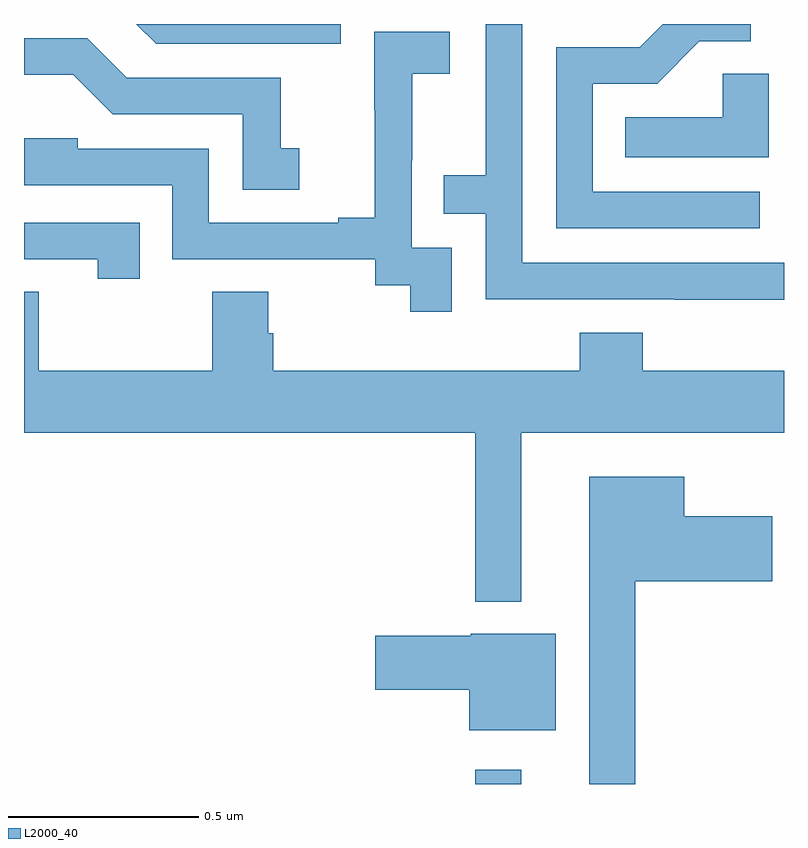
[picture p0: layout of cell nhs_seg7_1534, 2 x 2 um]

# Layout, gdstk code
import gdstk
lib = gdstk.Library(unit=1e-6, precision=1e-09)
def R(c, l, rs):  # rectangles x0, y0, x1, y1
    for r in rs: c.add(gdstk.rectangle(r[:2], r[2:], *l))
def P(c, l, *ps):  # polygons
    for p in ps: c.add(gdstk.Polygon(p, *l))
L2000_40 = (2000, 40)

nhs_seg7_1534 = lib.new_cell('nhs_seg7_1534')
R(nhs_seg7_1534, L2000_40, [(133.188,1025,133.309,1025.038)])
P(nhs_seg7_1534, L2000_40, [(132.834,1027),(132.296,1027),(132.348,1026.948),(132.834,1026.948)],
  [(134,1026.372),(133.311,1026.372),(133.311,1027),(133.215,1027),(133.215,1026.602),(133.105,1026.602),(133.105,1026.501),(133.215,1026.501),(133.215,1026.276),(133.711,1026.276),(133.711,1026.275),(134,1026.275)],
  [(133.936,1026.558),(133.497,1026.558),(133.497,1026.843),(133.666,1026.843),(133.777,1026.954),(133.912,1026.954),(133.912,1027),(133.681,1027),(133.62,1026.939),(133.401,1026.939),(133.401,1026.462),(133.936,1026.462)],
  [(133.125,1026.411),(133.02,1026.411),(133.02,1026.641),(133.022,1026.641),(133.022,1026.869),(133.12,1026.869),(133.12,1026.979),(132.922,1026.979),(132.922,1026.773),(132.923,1026.773),(132.923,1026.49),(132.827,1026.49),(132.827,1026.477),(132.486,1026.477),(132.486,1026.672),(132.141,1026.672),(132.141,1026.699),(132.001,1026.699),(132.001,1026.576),(132.39,1026.576),(132.39,1026.381),(132.924,1026.381),(132.924,1026.313),(133.017,1026.313),(133.017,1026.243),(133.125,1026.243)],
  [(132.724,1026.673),(132.675,1026.673),(132.675,1026.858),(132.271,1026.858),(132.166,1026.963),(132,1026.963),(132,1026.866),(132.13,1026.866),(132.234,1026.762),(132.576,1026.762),(132.576,1026.564),(132.724,1026.564)],
  [(133.96,1026.869),(133.839,1026.869),(133.839,1026.754),(133.582,1026.754),(133.582,1026.65),(133.96,1026.65)],
  [(132.305,1026.477),(132,1026.477),(132,1026.381),(132.194,1026.381),(132.194,1026.33),(132.305,1026.33)],
  [(133.309,1025.924),(134,1025.924),(134,1026.088),(133.628,1026.088),(133.628,1026.187),(133.463,1026.187),(133.463,1026.088),(132.656,1026.088),(132.656,1026.186),(132.643,1026.186),(132.643,1026.296),(132.496,1026.296),(132.496,1026.088),(132.039,1026.088),(132.039,1026.296),(132,1026.296),(132,1025.924),(133.188,1025.924),(133.188,1025.48),(133.309,1025.48)],
  [(133.609,1025.534),(133.969,1025.534),(133.969,1025.704),(133.738,1025.704),(133.738,1025.809),(133.487,1025.809),(133.487,1025),(133.609,1025)],
  [(133.399,1025.395),(133.176,1025.395),(133.176,1025.39),(132.924,1025.39),(132.924,1025.248),(133.172,1025.248),(133.172,1025.141),(133.399,1025.141)])

lib.write_gds('nhs_seg7_1534.gds')
